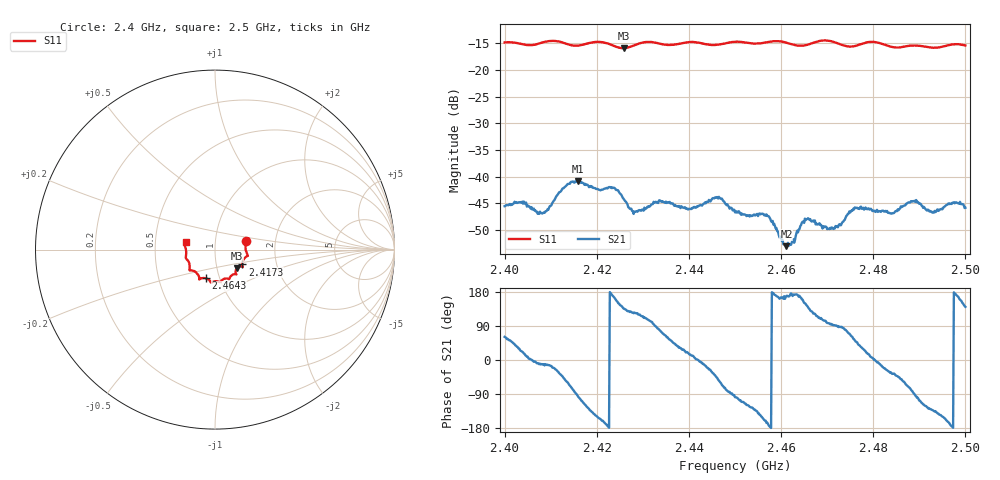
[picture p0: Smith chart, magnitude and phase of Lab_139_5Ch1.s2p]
# Hz S RI R 50
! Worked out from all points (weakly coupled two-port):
!   601 points, 2.4 GHz to 2.5 GHz, reference 50 ohm
!   highest |S21| = -40.84 dB at 2.4158 GHz (marker M1); lowest = -53.0 dB at 2.4612 GHz (marker M2)
!   lowest |S11| = -15.9 dB at 2.4258 GHz (marker M3), VSWR 1.38, Z = 62.2 - j13.2 ohm
!   |S11| at or under -10 dB: start of sweep to end of sweep
!   S12 and S22 are empty: the file has one direction only
!   S11 on the Smith chart (normalised r, x): 2.4 GHz: 1.41, +0.14; 2.4173 GHz: 1.34, -0.23; 2.4643 GHz: 0.86, -0.28; 2.5 GHz: 0.72, +0.06
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2.4e9  0.1736 0.0493  0.00257 0.00463  0 0  0 0
2.408333e9  0.1795 -0.0241  0.00447 -0.000973  0 0  0 0
2.415833e9  0.1553 -0.0649  -0.000648 -0.00905  0 0  0 0
2.416667e9  0.153 -0.075  -0.00268 -0.00846  0 0  0 0
2.417333e9  0.1524 -0.0825  -0.00373 -0.00752  0 0  0 0
2.4235e9  0.1408 -0.0937  -0.00768 0.0015  0 0  0 0
2.425833e9  0.1213 -0.1037  -0.00442 0.00435  0 0  0 0
2.428333e9  0.1151 -0.1266  -0.00263 0.0039  0 0  0 0
2.433333e9  0.1125 -0.1366  0.000718 0.00563  0 0  0 0
2.440167e9  0.0796 -0.1637  0.00483 0.00123  0 0  0 0
2.446167e9  0.0458 -0.1653  0.00432 -0.00478  0 0  0 0
2.45e9  0.0295 -0.1808  -0.000658 -0.00459  0 0  0 0
2.457e9  -0.0137 -0.1809  -0.00414 -0.00109  0 0  0 0
2.461167e9  -0.0261 -0.1775  -0.0022 0.000421  0 0  0 0
2.464333e9  -0.0501 -0.1603  -0.00339 0.000956  0 0  0 0
2.466667e9  -0.0763 -0.1597  -0.00235 0.00299  0 0  0 0
2.470833e9  -0.0871 -0.1639  -0.000311 0.00324  0 0  0 0
2.476167e9  -0.1182 -0.119  0.00335 0.00386  0 0  0 0
2.483333e9  -0.1408 -0.0898  0.00396 -0.0023  0 0  0 0
2.488833e9  -0.1624 -0.047  0.000165 -0.00589  0 0  0 0
2.492667e9  -0.1603 -0.0176  -0.0031 -0.00355  0 0  0 0
2.5e9  -0.1637 0.0413  -0.00394 0.00327  0 0  0 0
